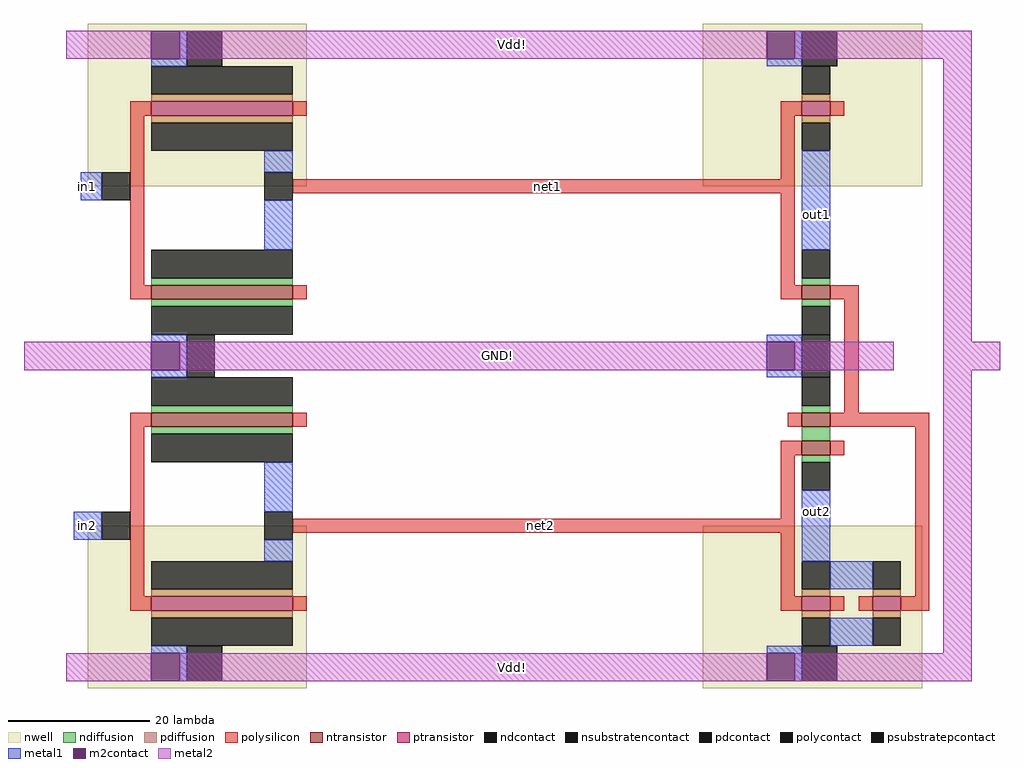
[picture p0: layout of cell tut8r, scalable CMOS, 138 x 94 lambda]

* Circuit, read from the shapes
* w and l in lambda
.subckt tut8r GND! Vdd! in1 in2 net1 net2 out1 out2
M1 GND! in2 net2 GND! nfet w=20 l=2
M2 net1 in1 GND! GND! nfet w=20 l=2
M3 n1 net2 out2 GND! nfet w=4 l=2
M4 GND! net1 n1 GND! nfet w=4 l=2
M5 out1 net1 GND! GND! nfet w=4 l=2
M6 net2 in2 Vdd! Vdd! pfet w=20 l=2
M7 Vdd! in1 net1 Vdd! pfet w=20 l=2
M8 out2 net2 Vdd! Vdd! pfet w=4 l=2
M9 Vdd! net1 out1 Vdd! pfet w=4 l=2
M10 out2 net1 Vdd! Vdd! pfet w=4 l=2
.ends

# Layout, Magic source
magic
tech scmos
<< polysilicon >>
rect -95 26 -92 28
rect -72 26 -70 28
rect -3 26 0 28
rect 4 26 6 28
rect -95 2 -93 26
rect -3 17 -1 26
rect -72 15 -1 17
rect -3 2 -1 15
rect -95 0 -92 2
rect -72 0 -70 2
rect -3 0 0 2
rect 4 0 8 2
rect 6 -16 8 0
rect -95 -18 -92 -16
rect -72 -18 -70 -16
rect -2 -18 0 -16
rect 4 -18 18 -16
rect -95 -42 -93 -18
rect -3 -22 0 -20
rect 4 -22 6 -20
rect -3 -31 -1 -22
rect -72 -33 -1 -31
rect -3 -42 -1 -33
rect 16 -42 18 -18
rect -95 -44 -92 -42
rect -72 -44 -70 -42
rect -3 -44 0 -42
rect 4 -44 6 -42
rect 8 -44 10 -42
rect 14 -44 18 -42
<< ndiffusion >>
rect -92 2 -72 3
rect 0 2 4 3
rect -92 -1 -72 0
rect 0 -1 4 0
rect -92 -16 -72 -15
rect 0 -16 4 -15
rect -92 -19 -72 -18
rect 0 -20 4 -18
rect 0 -23 4 -22
<< pdiffusion >>
rect -92 28 -72 29
rect 0 28 4 29
rect -92 25 -72 26
rect 0 25 4 26
rect -92 -42 -72 -41
rect 0 -42 4 -41
rect 10 -42 14 -41
rect -92 -45 -72 -44
rect 0 -45 4 -44
rect 10 -45 14 -44
<< metal1 >>
rect -88 34 -87 38
rect -92 33 -87 34
rect -1 34 0 38
rect -5 33 0 34
rect -76 18 -72 21
rect -102 14 -99 18
rect -76 7 -72 14
rect 0 7 4 21
rect -92 -6 -87 -5
rect -88 -10 -87 -6
rect -92 -11 -87 -10
rect -5 -6 0 -5
rect -1 -10 0 -6
rect -5 -11 0 -10
rect -76 -30 -72 -23
rect -103 -34 -99 -30
rect -76 -37 -72 -34
rect 0 -37 4 -27
rect 4 -41 10 -37
rect 4 -49 10 -45
rect -92 -50 -87 -49
rect -88 -54 -87 -50
rect -5 -50 0 -49
rect -1 -54 0 -50
<< metal2 >>
rect -104 34 -92 38
rect -88 34 -5 38
rect -1 34 24 38
rect 20 -6 24 34
rect -110 -10 -92 -6
rect -88 -10 -5 -6
rect -1 -10 13 -6
rect 20 -10 28 -6
rect 20 -50 24 -10
rect -104 -54 -92 -50
rect -88 -54 -5 -50
rect -1 -54 24 -50
<< nwell >>
rect -101 16 -70 39
rect -14 16 17 39
rect -101 -55 -70 -32
rect -14 -55 17 -32
<< polycontact >>
rect -99 14 -95 18
rect -76 14 -72 18
rect -99 -34 -95 -30
rect -76 -34 -72 -30
<< ndcontact >>
rect -92 3 -72 7
rect 0 3 4 7
rect -92 -5 -72 -1
rect 0 -5 4 -1
rect -92 -15 -72 -11
rect 0 -15 4 -11
rect -92 -23 -72 -19
rect 0 -27 4 -23
<< pdcontact >>
rect -92 29 -72 33
rect 0 29 4 33
rect -92 21 -72 25
rect 0 21 4 25
rect -92 -41 -72 -37
rect 0 -41 4 -37
rect 10 -41 14 -37
rect -92 -49 -72 -45
rect 0 -49 4 -45
rect 10 -49 14 -45
<< m2contact >>
rect -92 34 -88 38
rect -5 34 -1 38
rect -92 -10 -88 -6
rect -5 -10 -1 -6
rect -92 -54 -88 -50
rect -5 -54 -1 -50
<< ntransistor >>
rect -92 0 -72 2
rect 0 0 4 2
rect -92 -18 -72 -16
rect 0 -18 4 -16
rect 0 -22 4 -20
<< ptransistor >>
rect -92 26 -72 28
rect 0 26 4 28
rect -92 -44 -72 -42
rect 0 -44 4 -42
rect 10 -44 14 -42
<< psubstratepcontact >>
rect -87 -11 -83 -5
rect 0 -11 4 -5
<< nsubstratencontact >>
rect -87 33 -82 38
rect 0 33 5 38
rect -87 -54 -82 -49
rect 0 -54 5 -49
<< labels >>
rlabel metal2 -43 -8 -43 -8 1 GND!
rlabel metal2 -41 36 -41 36 5 Vdd!
rlabel metal2 -43 -8 -43 -8 5 GND!
rlabel metal2 -41 -52 -41 -52 1 Vdd!
rlabel polysilicon -37 -32 -37 -32 1 net2
rlabel polysilicon -36 16 -36 16 1 net1
rlabel metal1 -101 -32 -101 -32 3 in2
rlabel metal1 -101 16 -101 16 3 in1
rlabel metal1 2 12 2 12 1 out1
rlabel metal1 2 -30 2 -30 1 out2
<< end >>
